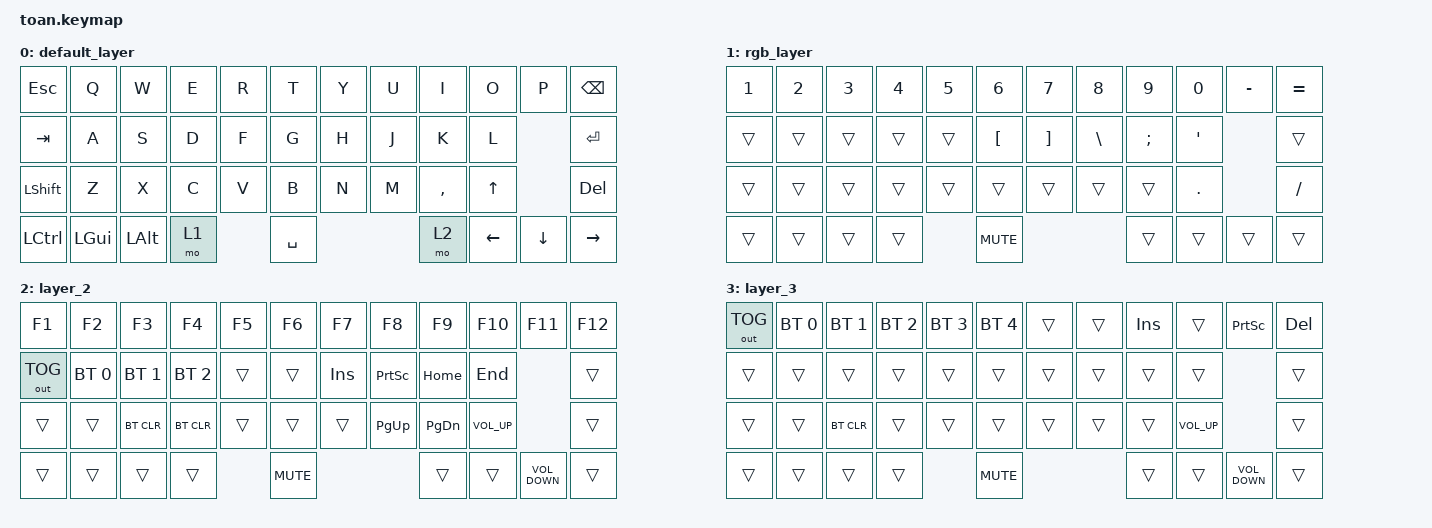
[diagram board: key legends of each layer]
#include <behaviors.dtsi>
#include <dt-bindings/zmk/bt.h>
#include <dt-bindings/zmk/keys.h>
#include <dt-bindings/zmk/outputs.h>

/ {
    keymap {
        compatible = "zmk,keymap";

        default_layer {
            // -------------------------------------------------------------------------------------------
            // | ESC |  1  |  2  |  3  |  4  |  5  |  6  |  7  |  8  |  9  |  0  |  -  |  =  | BKSP |BKSP|
            // | TAB  |  Q  |  W  |  E  |  R  |  T  |  Y  |  U  |  I  |  O  |  P  |  [  |  ]  |   "|"    |
            // | CAPS  |  A  |  S  |  D  |  F  |  G  |  H  |  J  |  K  |  L  |  ;  |  '  |     ENTER     |
            // |  SHIFT  |  Z  |  X  |  C  |  V  |  B  |  N  |  M  |  ,  |  .  |   SHFT   |  UP  |   /   |
            // |  CTL  |  WIN  |  ALT  |           SPACE             | FN(1) | WIN | LEFT | DOWN | RIGHT |
            // -------------------------------------------------------------------------------------------

            bindings = <
&kp ESC    &kp Q     &kp W     &kp E  &kp R  &kp T      &kp Y  &kp U  &kp I      &kp O           &kp P           &kp BSPC
&kp TAB    &kp A     &kp S     &kp D  &kp F  &kp G      &kp H  &kp J  &kp K      &kp L                           &kp ENTER
&kp LSHFT  &kp Z     &kp X     &kp C  &kp V  &kp B      &kp N  &kp M  &kp COMMA  &kp UP_ARROW                    &kp DELETE
&kp LCTRL  &kp LGUI  &kp LALT  &mo 1         &kp SPACE                &mo 2      &kp LEFT_ARROW  &kp DOWN_ARROW  &kp RIGHT_ARROW
            >;
        };

        rgb_layer {
            // ------------------------------------------------------------------------------------------------
            // | BT CLR | F1  | F2  | F3  | F4  | F5  | F6  | F7  | F8  | F9  | F10 | F11 | F12 | BOOT | BOOT |
            // |  BT 1   | TOG  |  UP |   | HUEUP | SATUP | BRIUP | SPDUP |   |     |   |    |    |  RGB_efect|
            // |   BT 2   | LT |  DN  | RT | HUEDN | SATDN | BRIDN | SPDDN |   |     |   |     |  EFFECT FORW |
            // |    BT 3     |     |      |      |     |     |     |     |     |     |     |                  |
            // |   BT 4  |      |      |             TOG RGB                | PRT SCR |    |    |     |  DEL  |
            // ------------------------------------------------------------------------------------------------

            bindings = <
&kp N1  &kp N2  &kp N3  &kp N4  &kp N5  &kp N6      &kp N7    &kp N8    &kp N9    &kp N0    &kp MINUS  &kp EQUAL
&trans  &trans  &trans  &trans  &trans  &kp LBKT    &kp RBKT  &kp BSLH  &kp SEMI  &kp APOS             &trans
&trans  &trans  &trans  &trans  &trans  &trans      &trans    &trans    &trans    &kp DOT              &kp FSLH
&trans  &trans  &trans  &trans          &kp C_MUTE                      &trans    &trans    &trans     &trans
            >;
        };

        layer_2 {
            bindings = <
&kp F1        &kp F2        &kp F3        &kp F4        &kp F5  &kp F6      &kp F7      &kp F8           &kp F9         &kp F10       &kp F11            &kp F12
&out OUT_TOG  &bt BT_SEL 0  &bt BT_SEL 1  &bt BT_SEL 2  &trans  &trans      &kp INSERT  &kp PRINTSCREEN  &kp HOME       &kp END                          &trans
&trans        &trans        &bt BT_CLR    &bt BT_CLR    &trans  &trans      &trans      &kp PAGE_UP      &kp PAGE_DOWN  &kp C_VOL_UP                     &trans
&trans        &trans        &trans        &trans                &kp C_MUTE                               &trans         &trans        &kp C_VOLUME_DOWN  &trans
            >;
        };

        layer_3 {
            bindings = <
&out OUT_TOG  &bt BT_SEL 0  &bt BT_SEL 1  &bt BT_SEL 2  &bt BT_SEL 3  &bt BT_SEL 4  &trans  &trans  &kp INSERT  &trans        &kp PRINTSCREEN    &kp DELETE
&trans        &trans        &trans        &trans        &trans        &trans        &trans  &trans  &trans      &trans                           &trans
&trans        &trans        &bt BT_CLR    &trans        &trans        &trans        &trans  &trans  &trans      &kp C_VOL_UP                     &trans
&trans        &trans        &trans        &trans                      &kp C_MUTE                    &trans      &trans        &kp C_VOLUME_DOWN  &trans
            >;
        };
    };
};
